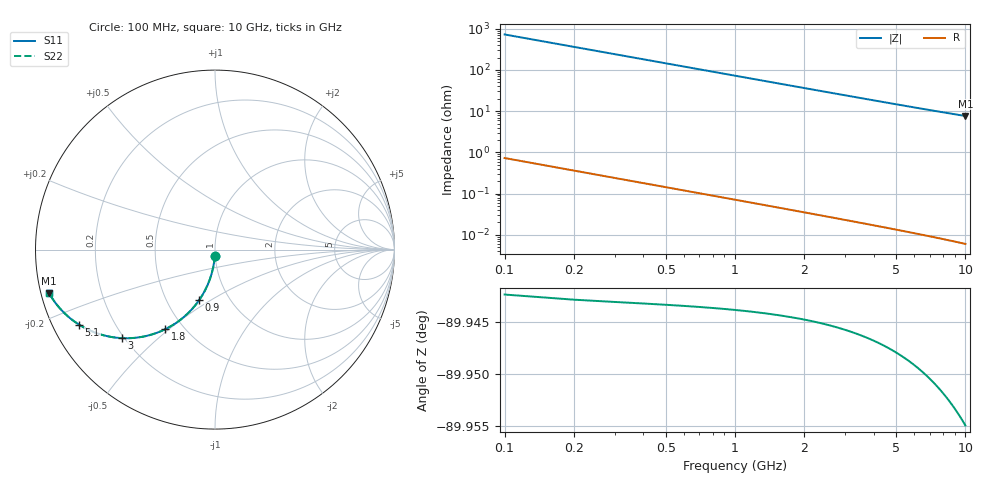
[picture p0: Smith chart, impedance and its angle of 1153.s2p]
# Hz S RI R 50.00
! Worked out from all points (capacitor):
!   100 points, 100 MHz to 10 GHz, reference 50 ohm
!   read as one part in shunt: C = 2.2 pF near 100 MHz
!   lowest |Z| = 7.63 ohm at 10 GHz (marker M1)
!   S11 on the Smith chart (normalised r, x): 100 MHz: 1.00, -0.07; 900 MHz: 0.72, -0.45; 1.8 GHz: 0.40, -0.49; 3 GHz: 0.19, -0.39; 5.1 GHz: 0.08, -0.26; 10 GHz: 0.02, -0.13
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1e8  -0.00117 -0.0343  0.9987 -0.0347  0.9987 -0.0347  -0.00117 -0.0343
2e8  -0.00475 -0.0683  0.9951 -0.0691  0.9951 -0.0691  -0.00475 -0.0683
3e8  -0.0106 -0.1018  0.9892 -0.103  0.9892 -0.103  -0.0106 -0.1018
4e8  -0.0188 -0.1347  0.9811 -0.1362  0.9811 -0.1362  -0.0188 -0.1347
5e8  -0.029 -0.1666  0.9709 -0.1685  0.9709 -0.1685  -0.029 -0.1666
6e8  -0.0412 -0.1973  0.9586 -0.1997  0.9586 -0.1997  -0.0412 -0.1973
7e8  -0.0553 -0.2268  0.9446 -0.2295  0.9446 -0.2295  -0.0553 -0.2268
9e8  -0.0882 -0.2814  0.9117 -0.2849  0.9117 -0.2849  -0.0882 -0.2814
1.1e9  -0.1262 -0.3295  0.8737 -0.3337  0.8737 -0.3337  -0.1262 -0.3295
1.3e9  -0.1678 -0.3707  0.8321 -0.3758  0.8321 -0.3758  -0.1678 -0.3707
1.5e9  -0.2116 -0.4051  0.7883 -0.4109  0.7883 -0.4109  -0.2116 -0.4051
1.8e9  -0.2787 -0.4444  0.7212 -0.4514  0.7212 -0.4514  -0.2787 -0.4444
2.1e9  -0.3446 -0.4707  0.6552 -0.4788  0.6552 -0.4788  -0.3446 -0.4707
2.4e9  -0.4071 -0.4861  0.5927 -0.4955  0.5927 -0.4955  -0.4071 -0.4861
3e9  -0.5177 -0.4933  0.4821 -0.505  0.4821 -0.505  -0.5177 -0.4933
3.4e9  -0.5797 -0.4864  0.4201 -0.4997  0.4201 -0.4997  -0.5797 -0.4864
4.2e9  -0.6781 -0.4584  0.3216 -0.4749  0.3216 -0.4749  -0.6781 -0.4584
5.1e9  -0.7568 -0.4183  0.2429 -0.4385  0.2429 -0.4385  -0.7568 -0.4183
5.9e9  -0.8067 -0.3825  0.1929 -0.4059  0.1929 -0.4059  -0.8067 -0.3825
6.7e9  -0.8436 -0.3491  0.1559 -0.3758  0.1559 -0.3758  -0.8436 -0.3491
8.4e9  -0.8952 -0.2883  0.1041 -0.3223  0.1041 -0.3223  -0.8952 -0.2883
1e10  -0.9242 -0.2428  0.0748 -0.2838  0.0748 -0.2838  -0.9242 -0.2428
